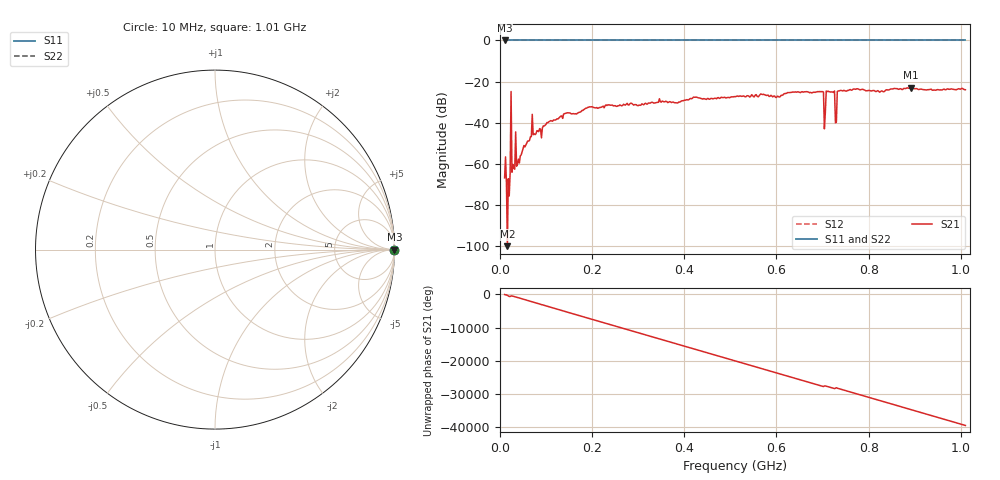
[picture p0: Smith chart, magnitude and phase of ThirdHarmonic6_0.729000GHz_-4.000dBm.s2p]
! 8/16/2025 12:22:39 AM
! C:\ANRITSUVNA\TEMP\TEMP.S2P
! CHANNEL.1
! TR.MEASUREMENT
! RAW.DATA
! RF.CORRECTION.OFF
! AVERAGING.OFF
! IF.BANDWIDTH: 5KHZ
! SWEEPTYPE:  FREQ.SWEEP(Linear)
! Reference Plane Port Info
! PORT:  PORT1  PORT2
! DISTANCE:  0  m  0  m
! TIME:  0  s  0  s
! PHASE.OFFSET:  0  deg.  0  deg.
! LOSS:  0  dB  0  dB
! REF.LOSS:  0  dB  0  dB
! REF.FREQ:  0  Hz  0  Hz
! Power Info
! POWER:  -20  dBm  -20  dBm
! EFF.POWER:  -20  dBm  -20  dBm
! SOURCE.ATTEN:  0  dB  0  dB
! TEST.ATTEN:  0  dB  0  dB
# GHZ S RI R 50.0
! FREQ.GHZ  S11RE  S11IM  S21RE  S21IM  S12RE  S12IM  S22RE  S22IM
!; PortSelection: Port_12
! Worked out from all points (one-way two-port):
!   501 points, 10 MHz to 1.01 GHz, reference 50 ohm
!   highest |S21| = -23.06 dB at 892 MHz (marker M1); lowest = -100.2 dB at 16 MHz (marker M2)
!   lowest |S11| = 0.0 dB at 10 MHz (marker M3)
!   |S11| at or under -10 dB: nowhere
!   |S22| runs from 0.0 to 0.0 dB; largest |S21 - S12| = 1.1
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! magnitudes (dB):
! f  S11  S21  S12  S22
! 10 MHz  0.0  -66.9  0.0  0.0
! 16 MHz  0.0  -100.2  0.0  0.0
! 18 MHz  0.0  -67.4  0.0  0.0
! 20 MHz  0.0  -75.8  0.0  0.0
! 26 MHz  0.0  -64.2  0.0  0.0
! 40 MHz  0.0  -57.8  0.0  0.0
! 70 MHz  0.0  -36.0  0.0  0.0
! 178 MHz  0.0  -34.1  0.0  0.0
! 344 MHz  0.0  -30.1  0.0  0.0
! 510 MHz  0.0  -27.4  0.0  0.0
! 678 MHz  0.0  -25.4  0.0  0.0
! 698 MHz  0.0  -25.0  0.0  0.0
! 702 MHz  0.0  -25.2  0.0  0.0
! 708 MHz  0.0  -24.6  0.0  0.0
! 712 MHz  0.0  -24.7  0.0  0.0
! 722 MHz  0.0  -25.1  0.0  0.0
! 726 MHz  0.0  -24.6  0.0  0.0
! 732 MHz  0.0  -24.9  0.0  0.0
! 736 MHz  0.0  -24.6  0.0  0.0
! 844 MHz  0.0  -24.1  0.0  0.0
! 892 MHz  0.0  -23.1  0.0  0.0
! 1.01 GHz  0.0  -24.0  0.0  0.0
